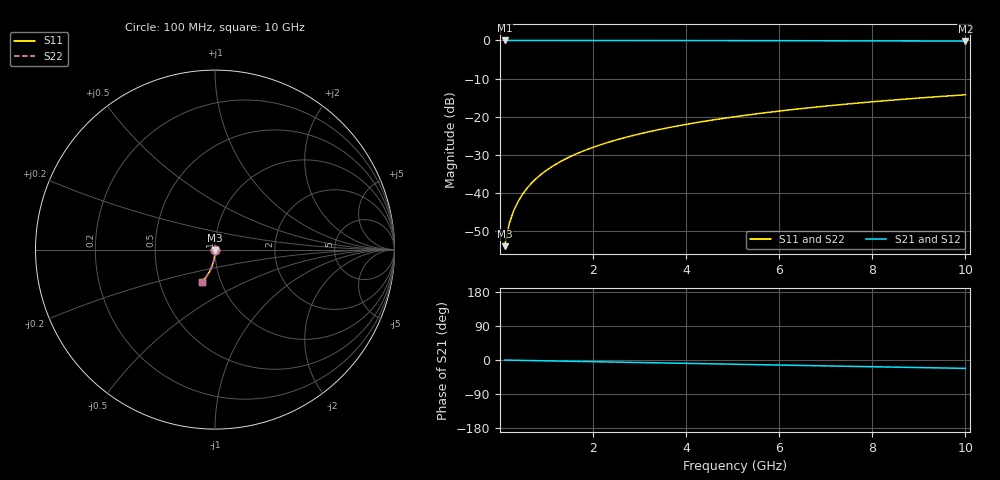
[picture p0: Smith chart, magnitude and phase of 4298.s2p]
# Hz S RI R 50.00
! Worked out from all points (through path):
!   100 points, 100 MHz to 10 GHz, reference 50 ohm
!   highest |S21| = 0.00 dB at 100 MHz (marker M1); lowest = -0.2 dB at 10 GHz (marker M2)
!   group delay of S21, straight-line fit = 6.16 ps
!   lowest |S11| = -54.0 dB at 100 MHz (marker M3), VSWR 1.00, Z = 50 - j0.198 ohm
!   |S11| at or under -10 dB: start of sweep to end of sweep
!   |S22| runs from -54.0 to -14.2 dB; largest |S21 - S12| = 0
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1e8  0.0003 -0.00198  0.9997 -0.00385  0.9997 -0.00385  0.0003 -0.00198
2e8  0.000276 -0.00396  0.9996 -0.0077  0.9996 -0.0077  0.000276 -0.00396
3e8  0.000237 -0.00595  0.9996 -0.0116  0.9996 -0.0116  0.000237 -0.00595
4e8  0.000182 -0.00793  0.9995 -0.0154  0.9995 -0.0154  0.000182 -0.00793
5e8  0.000111 -0.00991  0.9994 -0.0193  0.9994 -0.0193  0.000111 -0.00991
6e8  2.54e-05 -0.0119  0.9993 -0.0231  0.9993 -0.0231  2.54e-05 -0.0119
7e8  -7.58e-05 -0.0139  0.9992 -0.027  0.9992 -0.027  -7.58e-05 -0.0139
8e8  -0.000192 -0.0159  0.9991 -0.0308  0.9991 -0.0308  -0.000192 -0.0159
9e8  -0.000324 -0.0178  0.9989 -0.0347  0.9989 -0.0347  -0.000324 -0.0178
1.1e9  -0.000634 -0.0218  0.9985 -0.0424  0.9985 -0.0424  -0.000634 -0.0218
1.4e9  -0.00121 -0.0277  0.9978 -0.0539  0.9978 -0.0539  -0.00121 -0.0277
1.8e9  -0.0022 -0.0356  0.9966 -0.0693  0.9966 -0.0693  -0.0022 -0.0356
2.1e9  -0.0031 -0.0415  0.9955 -0.0808  0.9955 -0.0808  -0.0031 -0.0415
2.5e9  -0.00452 -0.0494  0.9937 -0.0962  0.9937 -0.0962  -0.00452 -0.0494
2.9e9  -0.00618 -0.0572  0.9917 -0.1115  0.9917 -0.1115  -0.00618 -0.0572
3.4e9  -0.00859 -0.0669  0.9887 -0.1306  0.9887 -0.1306  -0.00859 -0.0669
4.2e9  -0.0132 -0.0822  0.983 -0.1609  0.983 -0.1609  -0.0132 -0.0822
5.1e9  -0.0196 -0.099  0.9751 -0.1948  0.9751 -0.1948  -0.0196 -0.099
5.9e9  -0.0262 -0.1135  0.9669 -0.2245  0.9669 -0.2245  -0.0262 -0.1135
6.7e9  -0.0337 -0.1276  0.9576 -0.2539  0.9576 -0.2539  -0.0337 -0.1276
8.4e9  -0.0523 -0.1558  0.9342 -0.3146  0.9342 -0.3146  -0.0523 -0.1558
1e10  -0.073 -0.1796  0.9081 -0.3695  0.9081 -0.3695  -0.073 -0.1796
